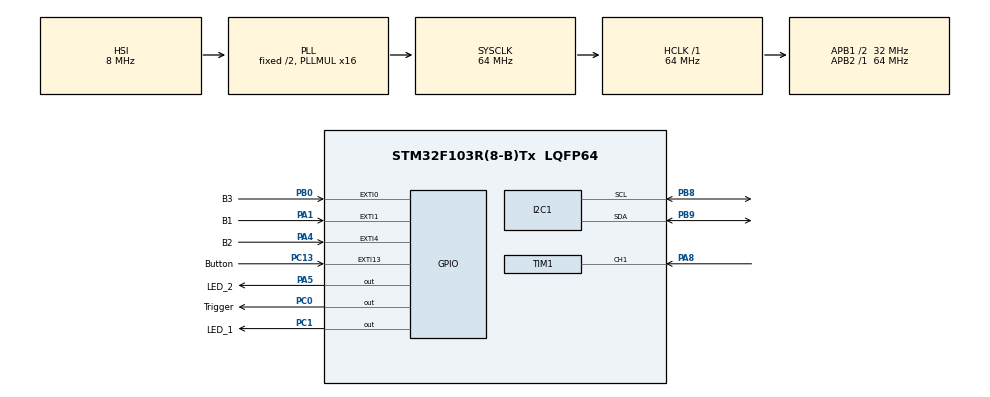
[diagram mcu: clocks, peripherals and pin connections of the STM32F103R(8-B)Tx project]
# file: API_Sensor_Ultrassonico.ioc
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I2C1.I2C_Mode=I2C_Fast
Mcu.Family=STM32F1
Mcu.Name=STM32F103R(8-B)Tx
Mcu.Package=LQFP64
NVIC.EXTI0_IRQn=true\:0\:0\:false\:false\:true\:true\:true\:true
NVIC.EXTI15_10_IRQn=true\:0\:0\:false\:false\:true\:true\:true\:true
NVIC.EXTI1_IRQn=true\:0\:0\:false\:false\:true\:true\:true\:true
NVIC.EXTI4_IRQn=true\:0\:0\:false\:false\:true\:true\:true\:true
NVIC.PriorityGroup=NVIC_PRIORITYGROUP_4
NVIC.TIM1_CC_IRQn=true\:0\:0\:false\:false\:true\:true\:true\:true
NVIC.TIM3_IRQn=true\:0\:0\:false\:false\:true\:true\:true\:true
PA1.GPIO_Label=B1
PA1.Signal=GPXTI1
PA4.GPIO_Label=B2
PA4.Signal=GPXTI4
PA5.GPIO_Label=LED_2
PA5.Signal=GPIO_Output
PA8.Signal=S_TIM1_CH1
PB0.GPIO_Label=B3
PB0.Signal=GPXTI0
PB8.Mode=I2C
PB8.Signal=I2C1_SCL
PB9.Mode=I2C
PB9.Signal=I2C1_SDA
PC0.GPIO_Label=Trigger
PC0.Signal=GPIO_Output
PC1.GPIO_Label=LED_1
PC1.Signal=GPIO_Output
PC13-TAMPER-RTC.GPIO_Label=Button
PC13-TAMPER-RTC.GPIO_ModeDefaultEXTI=GPIO_MODE_IT_FALLING
PC13-TAMPER-RTC.Signal=GPXTI13
ProjectManager.HeapSize=0x200
ProjectManager.StackSize=0x400
ProjectManager.TargetToolchain=STM32CubeIDE
RCC.AHBFreq_Value=64000000
RCC.APB1CLKDivider=RCC_HCLK_DIV2
RCC.APB1Freq_Value=32000000
RCC.APB1TimFreq_Value=64000000
RCC.APB2Freq_Value=64000000
RCC.APB2TimFreq_Value=64000000
RCC.HCLKFreq_Value=64000000
RCC.PLLMUL=RCC_PLL_MUL16
RCC.SYSCLKFreq_VALUE=64000000
RCC.SYSCLKSource=RCC_SYSCLKSOURCE_PLLCLK
RCC.USBFreq_Value=64000000
SH.S_TIM1_CH1.0=TIM1_CH1,Input_Capture1_from_TI1
TIM1.Channel-Input_Capture1_from_TI1=TIM_CHANNEL_1
TIM1.Period=0xffff - 1
TIM1.Prescaler=64-1
TIM3.Prescaler=64-1
VP_TIM1_VS_ClockSourceINT.Mode=Internal
VP_TIM3_VS_ClockSourceINT.Mode=Internal
board=custom

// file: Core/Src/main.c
/* USER CODE BEGIN Header */
/**
  ******************************************************************************
  * @file           : main.c
  * @brief          : Main program body
  ******************************************************************************
  * @attention
  *
  * Copyright (c) 2022 STMicroelectronics.
  * All rights reserved.
  *
  * This software is licensed under terms that can be found in the LICENSE file
  * in the root directory of this software component.
  * If no LICENSE file comes with this software, it is provided AS-IS.
  *
  ******************************************************************************
  */
/* USER CODE END Header */
#include "main.h"

/* USER CODE BEGIN Includes */
#include <stdio.h>
#include <string.h>
#include "Ultrassonico.h"
#include "ssd1306.h"
#include "fonts.h"
#include "bitmap.h"
#include "test.h"
/* USER CODE END Includes */

I2C_HandleTypeDef hi2c1;

TIM_HandleTypeDef htim1;
TIM_HandleTypeDef htim3;

/* USER CODE BEGIN PV */
TIM_HandleTypeDef htim1;
TIM_HandleTypeDef htim3;
/* USER CODE END PV */

void SystemClock_Config(void);
static void MX_GPIO_Init(void);
static void MX_TIM1_Init(void);
static void MX_TIM3_Init(void);
static void MX_I2C1_Init(void);

/* USER CODE BEGIN 0 */
int funcao = 0;
int calibrar = 0;
/* USER CODE END 0 */

int main(void)
{
  /* USER CODE BEGIN 1 */
	char distancia_cm_str[30];
	char distancia_inch_str[30];
	float distancia_cm = 0;
	float distancia_inch = 0;
	float erro = 0;
	float distancia_limite_cm = 10;

  /* USER CODE END 1 */

  /* MCU Configuration--------------------------------------------------------*/

  /* Reset of all peripherals, Initializes the Flash interface and the Systick. */
  HAL_Init();

  /* Configure the system clock */
  SystemClock_Config();

  /* USER CODE BEGIN SysInit */
  HAL_TIM_Base_Start(&htim3);
  /* USER CODE END SysInit */

  /* Initialize all configured peripherals */
  MX_GPIO_Init();
  MX_TIM1_Init();
  MX_TIM3_Init();
  MX_I2C1_Init();
  /* USER CODE BEGIN 2 */
  SSD1306_Init();
  HAL_TIM_IC_Start_IT(&htim1, TIM_CHANNEL_1);
  /* USER CODE END 2 */

  /* Infinite loop */
  /* USER CODE BEGIN WHILE */
  while (1)
// Este projeto irá chamar uma função da API de acordo com o valor da variável funcao, esta variável varia de acordo com a quantidade de vezes que o botão B2 foi apertado

  {
	  switch (funcao){
	  case 1:
		  while(funcao == 1){ // Neste caso ele irá medir a distância em centímetros e polegadas e então printar no display OLED
			  erro = retornar_erro();
			  distancia_cm = Medir_Distancia_CM();;
			  distancia_inch = Medir_Distancia_INCH();
			  sprintf(distancia_cm_str, "D_cm: %0.2f cm",distancia_cm);
			  SSD1306_GotoXY (0,0);
			  SSD1306_Puts (distancia_cm_str, &Font_7x10, 1);
			  SSD1306_UpdateScreen(); // update display
			  sprintf(distancia_inch_str, "D_inch: %0.2f inch",distancia_inch);
			  SSD1306_GotoXY (0,20);
			  SSD1306_Puts (distancia_inch_str, &Font_7x10, 1);
			  SSD1306_UpdateScreen(); // update display
			  sprintf(distancia_inch_str, "Erro: %0.4f ",erro);
			  SSD1306_GotoXY (0,40);
			  SSD1306_Puts (distancia_inch_str, &Font_7x10, 1);
			  SSD1306_UpdateScreen(); // update display
			  HAL_Delay(60);}
		  break;

	  case 2:
		  Alerta_Distancia(distancia_limite_cm);
		  break;

	  case 3:
	  		  Calibracao(10);
	  		  break;

	  }
    /* USER CODE END WHILE */

  }
}

void SystemClock_Config(void)
{
  RCC_OscInitTypeDef RCC_OscInitStruct = {0};
  RCC_ClkInitTypeDef RCC_ClkInitStruct = {0};

  /** Initializes the RCC Oscillators according to the specified parameters
  * in the RCC_OscInitTypeDef structure.
  */
  RCC_OscInitStruct.OscillatorType = RCC_OSCILLATORTYPE_HSI;
  RCC_OscInitStruct.HSIState = RCC_HSI_ON;
  RCC_OscInitStruct.HSICalibrationValue = RCC_HSICALIBRATION_DEFAULT;
  RCC_OscInitStruct.PLL.PLLState = RCC_PLL_ON;
  RCC_OscInitStruct.PLL.PLLSource = RCC_PLLSOURCE_HSI_DIV2;
  RCC_OscInitStruct.PLL.PLLMUL = RCC_PLL_MUL16;
  if (HAL_RCC_OscConfig(&RCC_OscInitStruct) != HAL_OK)
  {
    Error_Handler();
  }

  /** Initializes the CPU, AHB and APB buses clocks
  */
  RCC_ClkInitStruct.ClockType = RCC_CLOCKTYPE_HCLK|RCC_CLOCKTYPE_SYSCLK
                              |RCC_CLOCKTYPE_PCLK1|RCC_CLOCKTYPE_PCLK2;
  RCC_ClkInitStruct.SYSCLKSource = RCC_SYSCLKSOURCE_PLLCLK;
  RCC_ClkInitStruct.AHBCLKDivider = RCC_SYSCLK_DIV1;
  RCC_ClkInitStruct.APB1CLKDivider = RCC_HCLK_DIV2;
  RCC_ClkInitStruct.APB2CLKDivider = RCC_HCLK_DIV1;

  if (HAL_RCC_ClockConfig(&RCC_ClkInitStruct, FLASH_LATENCY_2) != HAL_OK)
  {
    Error_Handler();
  }
}

static void MX_I2C1_Init(void)
{

  hi2c1.Instance = I2C1;
  hi2c1.Init.ClockSpeed = 400000;
  hi2c1.Init.DutyCycle = I2C_DUTYCYCLE_2;
  hi2c1.Init.OwnAddress1 = 0;
  hi2c1.Init.AddressingMode = I2C_ADDRESSINGMODE_7BIT;
  hi2c1.Init.DualAddressMode = I2C_DUALADDRESS_DISABLE;
  hi2c1.Init.OwnAddress2 = 0;
  hi2c1.Init.GeneralCallMode = I2C_GENERALCALL_DISABLE;
  hi2c1.Init.NoStretchMode = I2C_NOSTRETCH_DISABLE;
  if (HAL_I2C_Init(&hi2c1) != HAL_OK)
  {
    Error_Handler();
  }

}

static void MX_TIM1_Init(void)
{

  TIM_ClockConfigTypeDef sClockSourceConfig = {0};
  TIM_MasterConfigTypeDef sMasterConfig = {0};
  TIM_IC_InitTypeDef sConfigIC = {0};

  htim1.Instance = TIM1;
  htim1.Init.Prescaler = 64-1;
  htim1.Init.CounterMode = TIM_COUNTERMODE_UP;
  htim1.Init.Period = 0xffff - 1;
  htim1.Init.ClockDivision = TIM_CLOCKDIVISION_DIV1;
  htim1.Init.RepetitionCounter = 0;
  htim1.Init.AutoReloadPreload = TIM_AUTORELOAD_PRELOAD_DISABLE;
  if (HAL_TIM_Base_Init(&htim1) != HAL_OK)
  {
    Error_Handler();
  }
  sClockSourceConfig.ClockSource = TIM_CLOCKSOURCE_INTERNAL;
  if (HAL_TIM_ConfigClockSource(&htim1, &sClockSourceConfig) != HAL_OK)
  {
    Error_Handler();
  }
  if (HAL_TIM_IC_Init(&htim1) != HAL_OK)
  {
    Error_Handler();
  }
  sMasterConfig.MasterOutputTrigger = TIM_TRGO_RESET;
  sMasterConfig.MasterSlaveMode = TIM_MASTERSLAVEMODE_DISABLE;
  if (HAL_TIMEx_MasterConfigSynchronization(&htim1, &sMasterConfig) != HAL_OK)
  {
    Error_Handler();
  }
  sConfigIC.ICPolarity = TIM_INPUTCHANNELPOLARITY_RISING;
  sConfigIC.ICSelection = TIM_ICSELECTION_DIRECTTI;
  sConfigIC.ICPrescaler = TIM_ICPSC_DIV1;
  sConfigIC.ICFilter = 0;
  if (HAL_TIM_IC_ConfigChannel(&htim1, &sConfigIC, TIM_CHANNEL_1) != HAL_OK)
  {
    Error_Handler();
  }
  /* USER CODE BEGIN TIM1_Init 2 */
  HAL_TIM_Base_Start(&htim1);
  /* USER CODE END TIM1_Init 2 */

}

static void MX_TIM3_Init(void)
{

  TIM_ClockConfigTypeDef sClockSourceConfig = {0};
  TIM_MasterConfigTypeDef sMasterConfig = {0};

  htim3.Instance = TIM3;
  htim3.Init.Prescaler = 64-1;
  htim3.Init.CounterMode = TIM_COUNTERMODE_UP;
  htim3.Init.Period = 65535;
  htim3.Init.ClockDivision = TIM_CLOCKDIVISION_DIV1;
  htim3.Init.AutoReloadPreload = TIM_AUTORELOAD_PRELOAD_DISABLE;
  if (HAL_TIM_Base_Init(&htim3) != HAL_OK)
  {
    Error_Handler();
  }
  sClockSourceConfig.ClockSource = TIM_CLOCKSOURCE_INTERNAL;
  if (HAL_TIM_ConfigClockSource(&htim3, &sClockSourceConfig) != HAL_OK)
  {
    Error_Handler();
  }
  sMasterConfig.MasterOutputTrigger = TIM_TRGO_RESET;
  sMasterConfig.MasterSlaveMode = TIM_MASTERSLAVEMODE_DISABLE;
  if (HAL_TIMEx_MasterConfigSynchronization(&htim3, &sMasterConfig) != HAL_OK)
  {
    Error_Handler();
  }

}

static void MX_GPIO_Init(void)
{
  GPIO_InitTypeDef GPIO_InitStruct = {0};

  /* GPIO Ports Clock Enable */
  __HAL_RCC_GPIOC_CLK_ENABLE();
  __HAL_RCC_GPIOA_CLK_ENABLE();
  __HAL_RCC_GPIOB_CLK_ENABLE();

  /*Configure GPIO pin Output Level */
  HAL_GPIO_WritePin(GPIOC, Trigger_Pin|LED_1_Pin, GPIO_PIN_RESET);

  /*Configure GPIO pin Output Level */
  HAL_GPIO_WritePin(LED_2_GPIO_Port, LED_2_Pin, GPIO_PIN_RESET);

  /*Configure GPIO pin : Button_Pin */
  GPIO_InitStruct.Pin = Button_Pin;
  GPIO_InitStruct.Mode = GPIO_MODE_IT_FALLING;
  GPIO_InitStruct.Pull = GPIO_NOPULL;
  HAL_GPIO_Init(Button_GPIO_Port, &GPIO_InitStruct);

  /*Configure GPIO pins : Trigger_Pin LED_1_Pin */
  GPIO_InitStruct.Pin = Trigger_Pin|LED_1_Pin;
  GPIO_InitStruct.Mode = GPIO_MODE_OUTPUT_PP;
  GPIO_InitStruct.Pull = GPIO_NOPULL;
  GPIO_InitStruct.Speed = GPIO_SPEED_FREQ_LOW;
  HAL_GPIO_Init(GPIOC, &GPIO_InitStruct);

  /*Configure GPIO pins : B1_Pin B2_Pin */
  GPIO_InitStruct.Pin = B1_Pin|B2_Pin;
  GPIO_InitStruct.Mode = GPIO_MODE_IT_RISING;
  GPIO_InitStruct.Pull = GPIO_NOPULL;
  HAL_GPIO_Init(GPIOA, &GPIO_InitStruct);

  /*Configure GPIO pin : LED_2_Pin */
  GPIO_InitStruct.Pin = LED_2_Pin;
  GPIO_InitStruct.Mode = GPIO_MODE_OUTPUT_PP;
  GPIO_InitStruct.Pull = GPIO_NOPULL;
  GPIO_InitStruct.Speed = GPIO_SPEED_FREQ_LOW;
  HAL_GPIO_Init(LED_2_GPIO_Port, &GPIO_InitStruct);

  /*Configure GPIO pin : B3_Pin */
  GPIO_InitStruct.Pin = B3_Pin;
  GPIO_InitStruct.Mode = GPIO_MODE_IT_RISING;
  GPIO_InitStruct.Pull = GPIO_NOPULL;
  HAL_GPIO_Init(B3_GPIO_Port, &GPIO_InitStruct);

  /* EXTI interrupt init*/
  HAL_NVIC_SetPriority(EXTI0_IRQn, 0, 0);
  HAL_NVIC_EnableIRQ(EXTI0_IRQn);

  HAL_NVIC_SetPriority(EXTI1_IRQn, 0, 0);
  HAL_NVIC_EnableIRQ(EXTI1_IRQn);

  HAL_NVIC_SetPriority(EXTI4_IRQn, 0, 0);
  HAL_NVIC_EnableIRQ(EXTI4_IRQn);

  HAL_NVIC_SetPriority(EXTI15_10_IRQn, 0, 0);
  HAL_NVIC_EnableIRQ(EXTI15_10_IRQn);

}

/* USER CODE BEGIN 4 */
void HAL_GPIO_EXTI_Callback(uint16_t GPIO_Pin){
	if(GPIO_Pin == GPIO_PIN_1){
		funcao = 1;
	}
	else if(GPIO_Pin == GPIO_PIN_4){
		funcao = 2;
	}
	else if(GPIO_Pin == GPIO_PIN_0){
		if(funcao == 3)
			calibrar = 1;
		if(funcao != 3){
		funcao = 3;}
		}
}
/* USER CODE END 4 */

void Error_Handler(void)
{
  __disable_irq();
  while (1)
  {
  }
}
